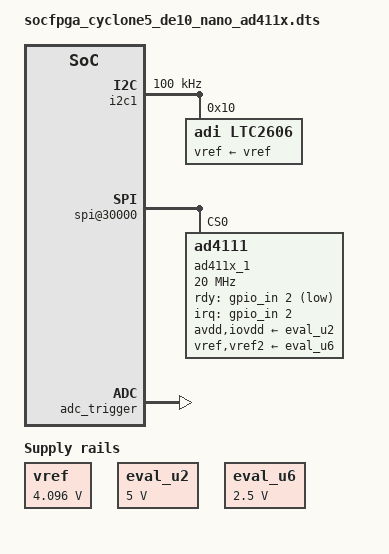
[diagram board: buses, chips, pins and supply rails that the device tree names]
// SPDX-License-Identifier: (GPL-2.0-only OR BSD-3-Clause)
/*
 * Analog Devices CN0540
 * https://www.analog.com/en/design-center/reference-designs/circuits-from-the-lab/cn0540.html
 * https://www.analog.com/en/products/ad7768-1.html
 * https://wiki.analog.com/resources/tools-software/linux-build/generic/socfpga
 *
 * hdl_project: <cn0540/de10nano>
 * board_revision: <A>
 *
 * Copyright (C) 2020 Analog Devices Inc.
 */
/dts-v1/;
#include "socfpga_cyclone5_de10_nano_hps.dtsi"
#include <dt-bindings/interrupt-controller/irq.h>
#include <dt-bindings/gpio/gpio.h>


/ {
	vref: regulator-vref {
		compatible = "regulator-fixed";
		regulator-name = "fixed-supply";
		regulator-min-microvolt = <4096000>;
		regulator-max-microvolt = <4096000>;
		regulator-always-on;
	};

	eval_u2: eval-u2-regulator {
		compatible = "regulator-fixed";
		regulator-name = "EVAL ADUM6411BRSZ (U2)";
		regulator-min-microvolt = <5000000>;
		regulator-max-microvolt = <5000000>;
		regulator-always-on;
	};

	eval_u6: eval-u6-regulator {
		compatible = "regulator-fixed";
		regulator-name = "EVAL ADR4525BRZ (U6)";
		regulator-min-microvolt = <2500000>;
		regulator-max-microvolt = <2500000>;
		regulator-always-on;
	};
		
	eval_y1: eval-y1-clock {
		compatible = "fixed-clock";
		#clock-cells = <0x0>;
		clock-frequency = <16000000>;
		clock-output-names = "EVAL 16MEGHZ (Y1)";
	};
};

&i2c1 {
	status = "okay";
	clock-frequency = <100000>;
	ltc2606: ltc2606@10 {
		compatible = "adi,ltc2606";
		reg = <0x10>;
		vref-supply = <&vref>;
	};
};

&fpga_axi {
	gpio_bd: gpio_bd@10080 {
		compatible = "altr,pio-18.1", "altr,pio-1.0";
		reg = <0x00010080 0x10>;
		interrupt-parent = <&intc>;
		interrupts = <0 40 IRQ_TYPE_LEVEL_HIGH>;
		altr,interrupt-type = <IRQ_TYPE_LEVEL_HIGH>;
		#gpio-cells = <2>;
		gpio-controller;
		#interrupt-cells = <2>;
		interrupt-controller;
	};

	gpio_in: gpio_in@10100 {
		compatible = "altr,pio-18.1", "altr,pio-1.0";
		reg = <0x00010100 0x10>;
		interrupt-parent = <&intc>;
		interrupts = <0 42 IRQ_TYPE_LEVEL_HIGH>;
		altr,interrupt-type = <IRQ_TYPE_EDGE_FALLING>;
		#gpio-cells = <2>;
		gpio-controller;
		#interrupt-cells = <2>;
		interrupt-controller;
	};

  axi_dmac_0: rx-dma@20000 {
		compatible = "adi,axi-dmac-1.00.a";
		reg = <0x00020000 0x00000800>;
		interrupt-parent = <&intc>;
		interrupts = <0 44 IRQ_TYPE_LEVEL_HIGH>;
		#dma-cells = <1>;
		clocks = <&h2f_user0_clk>;
	};

	spi@30000 {
    compatible = "adi,axi-spi-engine-1.00.a";
		reg = <0x00030000 0x00010000>;
		interrupt-parent = <&intc>;
		interrupts = <0 45 IRQ_TYPE_LEVEL_HIGH>;
		clocks = <&sys_clk &h2f_user0_clk>;
		clock-names = "s_axi_aclk", "spi_clk";
		num-cs = <1>;

		dmas = <&axi_dmac_0 0>;
		dma-names = "offload0-rx";
		trigger-sources = <&adc_trigger>;

		#address-cells = <0x1>;
		#size-cells = <0x0>;

		ad411x_1: adc@0 {
			compatible = "ad4111";
			reg = <0>;

  		#address-cells = <1>;
  		#size-cells = <0>;

   		interrupts = <2 IRQ_TYPE_EDGE_FALLING>;
  		interrupt-names = "rdy";
  		interrupt-parent = <&gpio_in>;
      rdy-gpios = <&gpio_in 2 GPIO_ACTIVE_LOW>;

  		spi-max-frequency = <20000000>;
			spi-cpol;
			spi-cpha;

			avdd-supply = <&eval_u2>;
			iovdd-supply = <&eval_u2>;
			vref-supply = <&eval_u6>;
      vref2-supply = <&eval_u6>; //???? - needs fix
      
      clocks = <&eval_y1>;
			clock-names = "xtal";
      
  		channel@0 {
	  		reg = <0>;
	  		single-channel = <0>;
	  		common-mode-channel = <16>;
	  	};

	  	/**
	  	 * This channel is a single-ended channel, and assumes that
	  	 * the AIN3 is connected to a fixed voltage.
	  	 */
	  	channel@1 {
	  		reg = <1>;
	  		single-channel = <1>;
	  		common-mode-channel = <16>;
	  	};

	  	channel@2 {
	  		reg = <2>;
	  		single-channel = <2>;
	  		common-mode-channel = <16>;
	  	};

	  	channel@3 {
	  		reg = <3>;
	  		single-channel = <3>;
	  		common-mode-channel = <16>;
  		};

  		channel@4 {
  			reg = <4>;
	  		single-channel = <4>;
	  		common-mode-channel = <16>;
	  	};

  		channel@5 {
  			reg = <5>;
	  		single-channel = <5>;
	  		common-mode-channel = <16>;
  		};

  		channel@6 {
  			reg = <6>;
	  		single-channel = <6>;
	  		common-mode-channel = <16>;
  		};

  		channel@7 {
  			reg = <7>;
	  		single-channel = <7>;
	  		common-mode-channel = <16>;
  		};

			channel@8 {
				reg = <8>;
				single-channel = <0>; // IIN0
				adi,current-channel;
			};

			channel@9 {
				reg = <9>;
				single-channel = <1>; // IIN1
				adi,current-channel;
			};

			channel@10 {
				reg = <10>;
				single-channel = <2>; // IIN2
				adi,current-channel;
			};

			channel@11 {
				reg = <11>;
				single-channel = <3>; // IIN3
				adi,current-channel;
			};
		};
	};

	adc_trigger: trigger@40000 {
		compatible = "adi,util-sigma-delta-spi";
		reg = <0x40000 0x100>;
		clocks = <&h2f_user0_clk>;
		#trigger-source-cells = <0>;
	};
};
